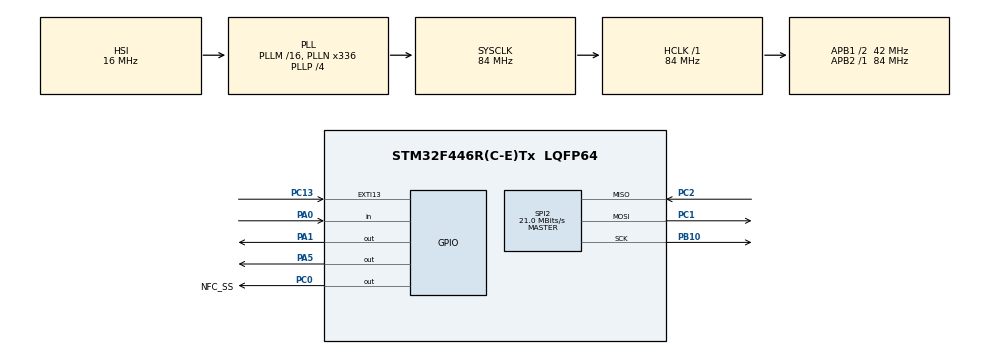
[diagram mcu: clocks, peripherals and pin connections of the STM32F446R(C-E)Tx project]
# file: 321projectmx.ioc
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FREERTOS.Tasks01=defaultTask,24,128,StartDefaultTask,Default,NULL,Dynamic,NULL,NULL
FREERTOS.configUSE_NEWLIB_REENTRANT=1
Mcu.Family=STM32F4
Mcu.Name=STM32F446R(C-E)Tx
Mcu.Package=LQFP64
NUCLEO-F446RE.BUTTON=1
NUCLEO-F446RE.LD1=true
NVIC.EXTI15_10_IRQn=true\:5\:0\:false\:false\:true\:true\:false\:true\:true
NVIC.PriorityGroup=NVIC_PRIORITYGROUP_4
NVIC.TIM1_UP_TIM10_IRQn=true\:15\:0\:false\:false\:true\:false\:false\:true\:true
NVIC.TimeBase=TIM1_UP_TIM10_IRQn
NVIC.TimeBaseIP=TIM1
PA0-WKUP.Signal=GPIO_Input
PA1.GPIO_ModeDefaultOutputPP=GPIO_MODE_OUTPUT_OD
PA1.GPIO_PuPd=GPIO_NOPULL
PA1.Signal=GPIO_Output
PA13.GPIO_Label=TMS
PA13.Signal=SYS_JTMS-SWDIO
PA14.GPIO_Label=TCK
PA14.Signal=SYS_JTCK-SWCLK
PA2.GPIO_Label=USART_TX
PA2.Signal=USART2_TX
PA3.GPIO_Label=USART_RX
PA3.Signal=USART2_RX
PA5.Signal=GPIO_Output
PB10.Mode=Full_Duplex_Master
PB10.Signal=SPI2_SCK
PB3.GPIO_Label=SWO
PB3.Signal=SYS_JTDO-SWO
PC0.GPIO_Label=NFC_SS
PC0.PinState=GPIO_PIN_SET
PC0.Signal=GPIO_Output
PC1.Mode=Full_Duplex_Master
PC1.Signal=SPI2_MOSI
PC13.Signal=GPXTI13
PC14-OSC32_IN.Signal=RCC_OSC32_IN
PC15-OSC32_OUT.Signal=RCC_OSC32_OUT
PC2.Mode=Full_Duplex_Master
PC2.Signal=SPI2_MISO
PH0-OSC_IN.Signal=RCC_OSC_IN
PH1-OSC_OUT.Signal=RCC_OSC_OUT
ProjectManager.HeapSize=0x200
ProjectManager.StackSize=0x400
ProjectManager.TargetToolchain=STM32CubeIDE
RCC.AHBFreq_Value=84000000
RCC.APB1CLKDivider=RCC_HCLK_DIV2
RCC.APB1Freq_Value=42000000
RCC.APB1TimFreq_Value=84000000
RCC.APB2Freq_Value=84000000
RCC.APB2TimFreq_Value=84000000
RCC.CortexFreq_Value=84000000
RCC.FLatency-AdvancedSettings=FLASH_LATENCY_2
RCC.HCLKFreq_Value=84000000
RCC.HSE_VALUE=8000000
RCC.HSI_VALUE=16000000
RCC.LSE_VALUE=32768
RCC.PLLN=336
RCC.PLLP=RCC_PLLP_DIV4
RCC.SYSCLKFreq_VALUE=84000000
RCC.SYSCLKSource=RCC_SYSCLKSOURCE_PLLCLK
RCC.USBFreq_Value=168000000
RCC.VCOOutputFreq_Value=336000000
SPI2.CalculateBaudRate=21.0 MBits/s
SPI2.Direction=SPI_DIRECTION_2LINES
SPI2.Mode=SPI_MODE_MASTER
SPI2.VirtualType=VM_MASTER
VP_FREERTOS_VS_CMSIS_V2.Mode=CMSIS_V2
VP_NUCLEO-F446RE_VS_BSP_COMMON.Mode=COMMON
VP_SYS_VS_tim1.Mode=TIM1
board=NUCLEO-F446RE

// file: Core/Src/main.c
/* USER CODE BEGIN Header */
/**
  ******************************************************************************
  * @file           : main.c
  * @brief          : Main program body
  ******************************************************************************
  * @attention
  *
  * Copyright (c) 2026 STMicroelectronics.
  * All rights reserved.
  *
  * This software is licensed under terms that can be found in the LICENSE file
  * in the root directory of this software component.
  * If no LICENSE file comes with this software, it is provided AS-IS.
  *
  ******************************************************************************
  */
/* USER CODE END Header */
#include "main.h"
#include "cmsis_os.h"

SPI_HandleTypeDef hspi2;

/* Definitions for defaultTask */
osThreadId_t defaultTaskHandle;
const osThreadAttr_t defaultTask_attributes = {
  .name = "defaultTask",
  .stack_size = 128 * 4,
  .priority = (osPriority_t) osPriorityNormal,
};
/* USER CODE BEGIN PV */

#include "security_events.h"
#include "FreeRTOS.h"
#include "task.h"
#include "queue.h"

QueueHandle_t xSecurityEventQueue;

/* USER CODE END PV */

void SystemClock_Config(void);
static void MX_GPIO_Init(void);
static void MX_SPI2_Init(void);
void StartDefaultTask(void *argument);

/* USER CODE BEGIN PFP */

void Task_Tamper(void *argument);
void Task_Auth(void *argument);
void Task_BCM(void *argument);

/* USER CODE END PFP */

int main(void)
{

  /* MCU Configuration--------------------------------------------------------*/

  /* Reset of all peripherals, Initializes the Flash interface and the Systick. */
  HAL_Init();

  /* Configure the system clock */
  SystemClock_Config();

  /* Initialize all configured peripherals */
  MX_GPIO_Init();
  MX_SPI2_Init();
  /* USER CODE BEGIN 2 */

  xSecurityEventQueue = xQueueCreate(8, sizeof(SecurityEvent_t));

  xTaskCreate(Task_Tamper, "Tamper", 256, NULL, 4, NULL);
  xTaskCreate(Task_Auth,   "Auth",   256, NULL, 3, NULL);
  xTaskCreate(Task_BCM,    "BCM",    512, NULL, 2, NULL);

  /* USER CODE END 2 */

  /* Init scheduler */
  osKernelInitialize();

  /* Create the thread(s) */
  /* creation of defaultTask */
  defaultTaskHandle = osThreadNew(StartDefaultTask, NULL, &defaultTask_attributes);

  /* Initialize leds */
  BSP_LED_Init(LED2);

  /* Initialize USER push-button, will be used to trigger an interrupt each time it's pressed.*/
  BSP_PB_Init(BUTTON_USER, BUTTON_MODE_EXTI);

  /* Start scheduler */
  osKernelStart();

  /* We should never get here as control is now taken by the scheduler */

  /* Infinite loop */
  /* USER CODE BEGIN WHILE */
  while (1)
  {
      //Touch input
	  GPIO_PinState Touch_input = HAL_GPIO_ReadPin(GPIOA, GPIO_PIN_0);

	  //Writing to output, set output to open drain ! needed because rail is active low
	  HAL_GPIO_WritePin(GPIOA, GPIO_PIN_1, !Touch_input);

    /* USER CODE END WHILE */

  }
}

void SystemClock_Config(void)
{
  RCC_OscInitTypeDef RCC_OscInitStruct = {0};
  RCC_ClkInitTypeDef RCC_ClkInitStruct = {0};

  /** Configure the main internal regulator output voltage
  */
  __HAL_RCC_PWR_CLK_ENABLE();
  __HAL_PWR_VOLTAGESCALING_CONFIG(PWR_REGULATOR_VOLTAGE_SCALE3);

  /** Initializes the RCC Oscillators according to the specified parameters
  * in the RCC_OscInitTypeDef structure.
  */
  RCC_OscInitStruct.OscillatorType = RCC_OSCILLATORTYPE_HSI;
  RCC_OscInitStruct.HSIState = RCC_HSI_ON;
  RCC_OscInitStruct.HSICalibrationValue = RCC_HSICALIBRATION_DEFAULT;
  RCC_OscInitStruct.PLL.PLLState = RCC_PLL_ON;
  RCC_OscInitStruct.PLL.PLLSource = RCC_PLLSOURCE_HSI;
  RCC_OscInitStruct.PLL.PLLM = 16;
  RCC_OscInitStruct.PLL.PLLN = 336;
  RCC_OscInitStruct.PLL.PLLP = RCC_PLLP_DIV4;
  RCC_OscInitStruct.PLL.PLLQ = 2;
  RCC_OscInitStruct.PLL.PLLR = 2;
  if (HAL_RCC_OscConfig(&RCC_OscInitStruct) != HAL_OK)
  {
    Error_Handler();
  }

  /** Initializes the CPU, AHB and APB buses clocks
  */
  RCC_ClkInitStruct.ClockType = RCC_CLOCKTYPE_HCLK|RCC_CLOCKTYPE_SYSCLK
                              |RCC_CLOCKTYPE_PCLK1|RCC_CLOCKTYPE_PCLK2;
  RCC_ClkInitStruct.SYSCLKSource = RCC_SYSCLKSOURCE_PLLCLK;
  RCC_ClkInitStruct.AHBCLKDivider = RCC_SYSCLK_DIV1;
  RCC_ClkInitStruct.APB1CLKDivider = RCC_HCLK_DIV2;
  RCC_ClkInitStruct.APB2CLKDivider = RCC_HCLK_DIV1;

  if (HAL_RCC_ClockConfig(&RCC_ClkInitStruct, FLASH_LATENCY_2) != HAL_OK)
  {
    Error_Handler();
  }
}

static void MX_SPI2_Init(void)
{

  /* SPI2 parameter configuration*/
  hspi2.Instance = SPI2;
  hspi2.Init.Mode = SPI_MODE_MASTER;
  hspi2.Init.Direction = SPI_DIRECTION_2LINES;
  hspi2.Init.DataSize = SPI_DATASIZE_8BIT;
  hspi2.Init.CLKPolarity = SPI_POLARITY_LOW;
  hspi2.Init.CLKPhase = SPI_PHASE_1EDGE;
  hspi2.Init.NSS = SPI_NSS_SOFT;
  hspi2.Init.BaudRatePrescaler = SPI_BAUDRATEPRESCALER_2;
  hspi2.Init.FirstBit = SPI_FIRSTBIT_MSB;
  hspi2.Init.TIMode = SPI_TIMODE_DISABLE;
  hspi2.Init.CRCCalculation = SPI_CRCCALCULATION_DISABLE;
  hspi2.Init.CRCPolynomial = 10;
  if (HAL_SPI_Init(&hspi2) != HAL_OK)
  {
    Error_Handler();
  }

}

static void MX_GPIO_Init(void)
{
  GPIO_InitTypeDef GPIO_InitStruct = {0};

  /* GPIO Ports Clock Enable */
  __HAL_RCC_GPIOC_CLK_ENABLE();
  __HAL_RCC_GPIOH_CLK_ENABLE();
  __HAL_RCC_GPIOA_CLK_ENABLE();
  __HAL_RCC_GPIOB_CLK_ENABLE();

  /*Configure GPIO pin Output Level */
  HAL_GPIO_WritePin(NFC_SS_GPIO_Port, NFC_SS_Pin, GPIO_PIN_SET);

  /*Configure GPIO pin Output Level */
  HAL_GPIO_WritePin(GPIOA, GPIO_PIN_1, GPIO_PIN_RESET);

  /*Configure GPIO pin : NFC_SS_Pin */
  GPIO_InitStruct.Pin = NFC_SS_Pin;
  GPIO_InitStruct.Mode = GPIO_MODE_OUTPUT_PP;
  GPIO_InitStruct.Pull = GPIO_NOPULL;
  GPIO_InitStruct.Speed = GPIO_SPEED_FREQ_LOW;
  HAL_GPIO_Init(NFC_SS_GPIO_Port, &GPIO_InitStruct);

  /*Configure GPIO pin : PA0 */
  GPIO_InitStruct.Pin = GPIO_PIN_0;
  GPIO_InitStruct.Mode = GPIO_MODE_INPUT;
  GPIO_InitStruct.Pull = GPIO_NOPULL;
  HAL_GPIO_Init(GPIOA, &GPIO_InitStruct);

  /*Configure GPIO pin : PA1 */
  GPIO_InitStruct.Pin = GPIO_PIN_1;
  GPIO_InitStruct.Mode = GPIO_MODE_OUTPUT_OD;
  GPIO_InitStruct.Pull = GPIO_NOPULL;
  GPIO_InitStruct.Speed = GPIO_SPEED_FREQ_LOW;
  HAL_GPIO_Init(GPIOA, &GPIO_InitStruct);

  /*Configure GPIO pins : USART_TX_Pin USART_RX_Pin */
  GPIO_InitStruct.Pin = USART_TX_Pin|USART_RX_Pin;
  GPIO_InitStruct.Mode = GPIO_MODE_AF_PP;
  GPIO_InitStruct.Pull = GPIO_NOPULL;
  GPIO_InitStruct.Speed = GPIO_SPEED_FREQ_VERY_HIGH;
  GPIO_InitStruct.Alternate = GPIO_AF7_USART2;
  HAL_GPIO_Init(GPIOA, &GPIO_InitStruct);

}

/* USER CODE BEGIN 4 */

void Task_Auth(void *pvParameters) {
    uint8_t last_state = GPIO_PIN_RESET;
    for (;;) {
        uint8_t current_state = HAL_GPIO_ReadPin(GPIOA, GPIO_PIN_0);
        if (current_state == GPIO_PIN_SET && last_state == GPIO_PIN_RESET) {
            SecurityEvent_t evt = { .type = EVENT_TOUCH_DETECTED, .timestamp = xTaskGetTickCount() };
            xQueueSend(xSecurityEventQueue, &evt, 0);
        }
        last_state = current_state;
        vTaskDelay(pdMS_TO_TICKS(50));
    }
}

void Task_Tamper(void *pvParameters) {
    for (;;) {

        if (HAL_GPIO_ReadPin(GPIOC, GPIO_PIN_13) == GPIO_PIN_RESET) {
            SecurityEvent_t evt = { .type = EVENT_IMPACT_ALERT, .timestamp = xTaskGetTickCount() };
            xQueueSend(xSecurityEventQueue, &evt, 0);
            vTaskDelay(pdMS_TO_TICKS(500));
        }
        vTaskDelay(pdMS_TO_TICKS(20));
    }
}

void Task_BCM(void *pvParameters) {
    SecurityEvent_t rx_event;
    for (;;) {
        // Block  until an event arrives in the queue
        if (xQueueReceive(xSecurityEventQueue, &rx_event, portMAX_DELAY) == pdPASS) {
            if (rx_event.type == EVENT_TOUCH_DETECTED) {
                // Relay ON for 1.5s (Door Unlocked)
                HAL_GPIO_WritePin(GPIOA, GPIO_PIN_1, GPIO_PIN_RESET);
                vTaskDelay(pdMS_TO_TICKS(1500));
                HAL_GPIO_WritePin(GPIOA, GPIO_PIN_1, GPIO_PIN_SET);
            }
            else if (rx_event.type == EVENT_IMPACT_ALERT) {
                // Tamper alert: Rapid strobe on relay/buzzer
                for (int i = 0; i < 4; i++) {
                    HAL_GPIO_TogglePin(GPIOA, GPIO_PIN_1);
                    vTaskDelay(pdMS_TO_TICKS(150));
                }
                HAL_GPIO_WritePin(GPIOA, GPIO_PIN_1, GPIO_PIN_SET);
            }
        }
    }
}

/* USER CODE END 4 */

void StartDefaultTask(void *argument)
{
  for(;;)
  {
    osDelay(1);
  }
}

void HAL_TIM_PeriodElapsedCallback(TIM_HandleTypeDef *htim)
{
  if (htim->Instance == TIM1)
  {
    HAL_IncTick();
  }
}

void Error_Handler(void)
{
  __disable_irq();
  while (1)
  {
  }
}
